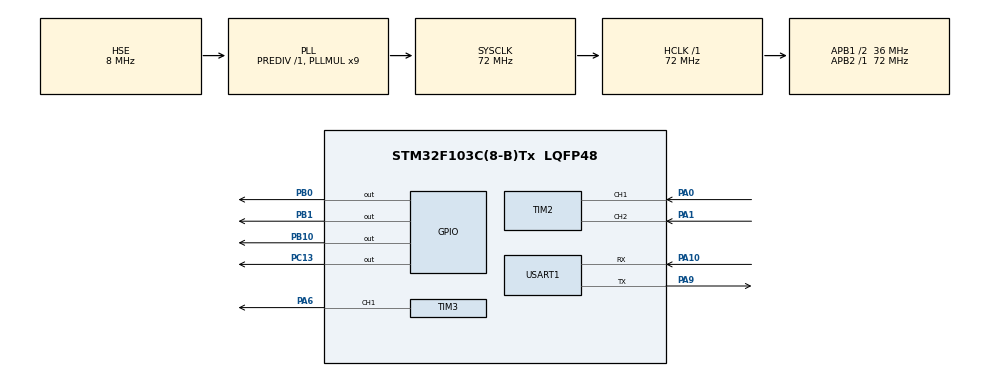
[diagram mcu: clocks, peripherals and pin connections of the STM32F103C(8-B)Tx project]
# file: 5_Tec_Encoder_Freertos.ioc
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FREERTOS.Tasks01=LedTask,8,128,Start_LedTask,Default,NULL,Dynamic,NULL,NULL;LogTask,8,256,Start_LogTask,Default,NULL,Dynamic,NULL,NULL;MotorTask,24,128,Start_MotorTask,Default,NULL,Dynamic,NULL,NULL;Feedback_test,32,128,Start_Feedback_test,Default,NULL,Dynamic,NULL,NULL
Mcu.Family=STM32F1
Mcu.Name=STM32F103C(8-B)Tx
Mcu.Package=LQFP48
NVIC.PriorityGroup=NVIC_PRIORITYGROUP_4
NVIC.TIM4_IRQn=true\:15\:0\:false\:false\:true\:false\:false\:true\:true
NVIC.TimeBase=TIM4_IRQn
NVIC.TimeBaseIP=TIM4
PA0-WKUP.Signal=S_TIM2_CH1_ETR
PA1.Signal=S_TIM2_CH2
PA10.Mode=Asynchronous
PA10.Signal=USART1_RX
PA13.Mode=Serial_Wire
PA13.Signal=SYS_JTMS-SWDIO
PA14.Mode=Serial_Wire
PA14.Signal=SYS_JTCK-SWCLK
PA6.Signal=S_TIM3_CH1
PA9.Mode=Asynchronous
PA9.Signal=USART1_TX
PB0.PinState=GPIO_PIN_SET
PB0.Signal=GPIO_Output
PB1.PinState=GPIO_PIN_SET
PB1.Signal=GPIO_Output
PB10.PinState=GPIO_PIN_SET
PB10.Signal=GPIO_Output
PC13-TAMPER-RTC.PinState=GPIO_PIN_SET
PC13-TAMPER-RTC.Signal=GPIO_Output
PD0-OSC_IN.Mode=HSE-External-Oscillator
PD0-OSC_IN.Signal=RCC_OSC_IN
PD1-OSC_OUT.Mode=HSE-External-Oscillator
PD1-OSC_OUT.Signal=RCC_OSC_OUT
ProjectManager.HeapSize=0x200
ProjectManager.StackSize=0x400
ProjectManager.TargetToolchain=MDK-ARM V5.32
RCC.AHBFreq_Value=72000000
RCC.APB1CLKDivider=RCC_HCLK_DIV2
RCC.APB1Freq_Value=36000000
RCC.APB1TimFreq_Value=72000000
RCC.APB2Freq_Value=72000000
RCC.APB2TimFreq_Value=72000000
RCC.EnbaleCSS=true
RCC.HCLKFreq_Value=72000000
RCC.PLLMUL=RCC_PLL_MUL9
RCC.PLLSourceVirtual=RCC_PLLSOURCE_HSE
RCC.SYSCLKFreq_VALUE=72000000
RCC.SYSCLKSource=RCC_SYSCLKSOURCE_PLLCLK
RCC.USBFreq_Value=72000000
SH.S_TIM2_CH1_ETR.0=TIM2_CH1,Encoder_Interface
SH.S_TIM2_CH2.0=TIM2_CH2,Encoder_Interface
SH.S_TIM3_CH1.0=TIM3_CH1,PWM Generation1 CH1
TIM2.EncoderMode=TIM_ENCODERMODE_TI12
TIM2.IC1Filter=5
TIM2.IC2Filter=5
TIM3.Channel-PWM\ Generation1\ CH1=TIM_CHANNEL_1
TIM3.Period=1000-1
TIM3.Prescaler=720-1
USART1.VirtualMode=VM_ASYNC
VP_FREERTOS_VS_CMSIS_V2.Mode=CMSIS_V2
VP_SYS_VS_tim4.Mode=TIM4
board=custom

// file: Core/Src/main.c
/* USER CODE BEGIN Header */
/**
  ******************************************************************************
  * @file           : main.c
  * @brief          : Main program body
  ******************************************************************************
  * @attention
  *
  * Copyright (c) 2025 STMicroelectronics.
  * All rights reserved.
  *
  * This software is licensed under terms that can be found in the LICENSE file
  * in the root directory of this software component.
  * If no LICENSE file comes with this software, it is provided AS-IS.
  *
  ******************************************************************************
  */
/* USER CODE END Header */
#include "main.h"
#include "cmsis_os.h"
#include "tim.h"
#include "usart.h"
#include "gpio.h"

/* USER CODE BEGIN Includes */

#include "cmsis_os2.h"
#include "motor.h"

// extern osThreadId_t LogTaskHandle;
// extern TIM_HandleTypeDef htim1;

Motor_t motor1; // 声明全局电机实例

/* USER CODE END Includes */

/* USER CODE BEGIN PV */

// 全局速度变量：使用 volatile 确保变量在中断和任务间正确同步
volatile int16_t current_speed = 0; // 当前速度

/* USER CODE END PV */

void SystemClock_Config(void);
void MX_FREERTOS_Init(void);

int main(void)
{

  /* MCU Configuration--------------------------------------------------------*/

  /* Reset of all peripherals, Initializes the Flash interface and the Systick. */
  HAL_Init();

  /* Configure the system clock */
  SystemClock_Config();

  /* Initialize all configured peripherals */
  MX_GPIO_Init();
  MX_TIM2_Init();
  MX_TIM3_Init();
  MX_USART1_UART_Init();
  /* USER CODE BEGIN 2 */

  // 启动编码器计数和 PWM 输出
  HAL_TIM_Encoder_Start(&htim2, TIM_CHANNEL_ALL);
  // HAL_TIM_PWM_Start(&htim1, TIM_CHANNEL_1);

  // 启动 TIM3 周期中断 (10ms 触发一次)
  // HAL_TIM_Base_Start_IT(&htim3);

  // TEST
  // __HAL_TIM_SET_COMPARE(&htim1, TIM_CHANNEL_1, 5000);
  // TEST

  Motor_Init(&motor1, &htim3, TIM_CHANNEL_1,
           GPIOB, GPIO_PIN_0,    // IN1 (例如 L298N 的 IN1)
           GPIOB, GPIO_PIN_1,    // IN2 (例如 L298N 的 IN2)
           GPIOB, GPIO_PIN_10,              // EN (如果没有独立的使能引脚，则为 NULL, 0)
           1000, 1000, 50,
           1, MOTOR_STOP_BRAKE);

  /* USER CODE END 2 */

  /* Init scheduler */
  osKernelInitialize();  /* Call init function for freertos objects (in cmsis_os2.c) */
  MX_FREERTOS_Init();

  /* Start scheduler */
  osKernelStart();

  /* We should never get here as control is now taken by the scheduler */

  /* Infinite loop */
  while (1)
  {

  }
}

void SystemClock_Config(void)
{
  RCC_OscInitTypeDef RCC_OscInitStruct = {0};
  RCC_ClkInitTypeDef RCC_ClkInitStruct = {0};

  /** Initializes the RCC Oscillators according to the specified parameters
  * in the RCC_OscInitTypeDef structure.
  */
  RCC_OscInitStruct.OscillatorType = RCC_OSCILLATORTYPE_HSE;
  RCC_OscInitStruct.HSEState = RCC_HSE_ON;
  RCC_OscInitStruct.HSEPredivValue = RCC_HSE_PREDIV_DIV1;
  RCC_OscInitStruct.HSIState = RCC_HSI_ON;
  RCC_OscInitStruct.PLL.PLLState = RCC_PLL_ON;
  RCC_OscInitStruct.PLL.PLLSource = RCC_PLLSOURCE_HSE;
  RCC_OscInitStruct.PLL.PLLMUL = RCC_PLL_MUL9;
  if (HAL_RCC_OscConfig(&RCC_OscInitStruct) != HAL_OK)
  {
    Error_Handler();
  }

  /** Initializes the CPU, AHB and APB buses clocks
  */
  RCC_ClkInitStruct.ClockType = RCC_CLOCKTYPE_HCLK|RCC_CLOCKTYPE_SYSCLK
                              |RCC_CLOCKTYPE_PCLK1|RCC_CLOCKTYPE_PCLK2;
  RCC_ClkInitStruct.SYSCLKSource = RCC_SYSCLKSOURCE_PLLCLK;
  RCC_ClkInitStruct.AHBCLKDivider = RCC_SYSCLK_DIV1;
  RCC_ClkInitStruct.APB1CLKDivider = RCC_HCLK_DIV2;
  RCC_ClkInitStruct.APB2CLKDivider = RCC_HCLK_DIV1;

  if (HAL_RCC_ClockConfig(&RCC_ClkInitStruct, FLASH_LATENCY_2) != HAL_OK)
  {
    Error_Handler();
  }

  /** Enables the Clock Security System
  */
  HAL_RCC_EnableCSS();
}

void HAL_TIM_PeriodElapsedCallback(TIM_HandleTypeDef *htim)
{
  if (htim->Instance == TIM4)
  {
    HAL_IncTick();
  }
  /* USER CODE BEGIN Callback 1 */

// To see "Start_Feedback_test"
// 把tim3定时中断，进行“发送-计数”取消；改为freertos中实现

  //   if (htim->Instance == TIM3) // 1ms 测速中断
  // {
  //   static int16_t last_cnt = 0;
  //   int16_t now = (int16_t)__HAL_TIM_GET_COUNTER(&htim2);

  //   // 1. 速度计算 (快速操作)
  //   current_speed = - (now - last_cnt);
  //   last_cnt = now;

  //   // 2. 唤醒 LogTask (使用 CMSIS V2 任务通知)
  //   if (LogTaskHandle != NULL)
  //   {
  //     osThreadFlagsSet(LogTaskHandle, 0x01); // 设置标志位 0x01 唤醒 LogTask
  //   }
  // }

  /* USER CODE END Callback 1 */
}

void Error_Handler(void)
{
  __disable_irq();
  while (1)
  {
  }
}

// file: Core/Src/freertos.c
/* USER CODE BEGIN Header */
/**
  ******************************************************************************
  * File Name          : freertos.c
  * Description        : Code for freertos applications
  ******************************************************************************
  * @attention
  *
  * Copyright (c) 2025 STMicroelectronics.
  * All rights reserved.
  *
  * This software is licensed under terms that can be found in the LICENSE file
  * in the root directory of this software component.
  * If no LICENSE file comes with this software, it is provided AS-IS.
  *
  ******************************************************************************
  */
/* USER CODE END Header */

#include "FreeRTOS.h"
#include "task.h"
#include "main.h"
#include "cmsis_os.h"

/* USER CODE BEGIN Includes */

#include "stdio.h"
#include "motor.h"
/* USER CODE END Includes */

/* USER CODE BEGIN Variables */

extern volatile int16_t current_speed;
extern TIM_HandleTypeDef htim2;
extern UART_HandleTypeDef huart1;
// extern TIM_HandleTypeDef htim1;
extern Motor_t motor1; // 声明全局电机实例

// LogTask 的任务句柄由 CubeMX 自动生成并在此处声明
// osThreadId_t LogTaskHandle;
uint8_t tx_buf[50];

/* USER CODE END Variables */
/* Definitions for LedTask */
osThreadId_t LedTaskHandle;
const osThreadAttr_t LedTask_attributes = {
  .name = "LedTask",
  .stack_size = 128 * 4,
  .priority = (osPriority_t) osPriorityLow,
};
/* Definitions for LogTask */
osThreadId_t LogTaskHandle;
const osThreadAttr_t LogTask_attributes = {
  .name = "LogTask",
  .stack_size = 256 * 4,
  .priority = (osPriority_t) osPriorityLow,
};
/* Definitions for MotorTask */
osThreadId_t MotorTaskHandle;
const osThreadAttr_t MotorTask_attributes = {
  .name = "MotorTask",
  .stack_size = 128 * 4,
  .priority = (osPriority_t) osPriorityNormal,
};
/* Definitions for Feedback_test */
osThreadId_t Feedback_testHandle;
const osThreadAttr_t Feedback_test_attributes = {
  .name = "Feedback_test",
  .stack_size = 128 * 4,
  .priority = (osPriority_t) osPriorityAboveNormal,
};

void Start_LedTask(void *argument);
void Start_LogTask(void *argument);
void Start_MotorTask(void *argument);
void Start_Feedback_test(void *argument);

void MX_FREERTOS_Init(void); /* (MISRA C 2004 rule 8.1) */

void MX_FREERTOS_Init(void) {

  /* Create the thread(s) */
  /* creation of LedTask */
  LedTaskHandle = osThreadNew(Start_LedTask, NULL, &LedTask_attributes);

  /* creation of LogTask */
  LogTaskHandle = osThreadNew(Start_LogTask, NULL, &LogTask_attributes);

  /* creation of MotorTask */
  MotorTaskHandle = osThreadNew(Start_MotorTask, NULL, &MotorTask_attributes);

  /* creation of Feedback_test */
  Feedback_testHandle = osThreadNew(Start_Feedback_test, NULL, &Feedback_test_attributes);

}

void Start_LedTask(void *argument)
{
  /* USER CODE BEGIN Start_LedTask */
  /* Infinite loop */
  for(;;)
  {
    // 周期性操作：切换 PC13 引脚状态 (假设 PC13 是 LED)
    HAL_GPIO_TogglePin(GPIOC, GPIO_PIN_13);

    // 任务休眠 500ms
    osDelay(500); // CMSIS V2 的延时函数
    // osDelay(1);
  }
  /* USER CODE END Start_LedTask */
}

void Start_LogTask(void *argument)
{
  /* USER CODE BEGIN Start_LogTask */
  /* Infinite loop */
  for(;;)
  {
    // 阻塞等待来自 TIM3 中断的标志位 (0x01)
    // osThreadFlagsWait(flags, options, timeout)
    osThreadFlagsWait(0x01, osFlagsWaitAny, osWaitForever);

    // 收到标志位 (每 10ms 唤醒一次) 后执行耗时 I/O：

    // 1. 安全地读取速度
    int16_t speed_val = current_speed;
    uint32_t cnt_val = __HAL_TIM_GET_COUNTER(&htim2);

    // 2. 格式化数据
    int len = sprintf((char *)tx_buf, "%ld,%d\r\n", cnt_val, speed_val);

    // 3. 串口发送 (耗时操作，安全)
    HAL_UART_Transmit(&huart1, tx_buf, len, HAL_MAX_DELAY);

    osDelay(1);
  }
  /* USER CODE END Start_LogTask */
}

void Start_MotorTask(void *argument)
{
  /* USER CODE BEGIN Start_MotorTask */
  /* Infinite loop */
  for(;;)
  {
    // HAL_GPIO_TogglePin(GPIOC, GPIO_PIN_13); // 切换 LED 状态，观察任务运行情况
    Motor_SetSpeed(&motor1, 1000); // 正转
    osDelay(1000);

    // HAL_GPIO_TogglePin(GPIOC, GPIO_PIN_13); // 切换 LED 状态，观察任务运行情况
    Motor_SetSpeed(&motor1, 0); // 停止
    osDelay(1000);

    // HAL_GPIO_TogglePin(GPIOC, GPIO_PIN_13); // 切换 LED 状态，观察任务运行情况
    Motor_SetSpeed(&motor1, -1000); // 反转
    osDelay(1000);

    //     HAL_GPIO_TogglePin(GPIOC, GPIO_PIN_13); // 切换 LED 状态，观察任务运行情况
    // Motor_SetSpeed(&motor1, -100); // 反转
    // osDelay(1000);

    //     HAL_GPIO_TogglePin(GPIOC, GPIO_PIN_13); // 切换 LED 状态，观察任务运行情况
    // Motor_SetSpeed(&motor1, -1000); // 反转
    // osDelay(1000);

    //     HAL_GPIO_TogglePin(GPIOC, GPIO_PIN_13); // 切换 LED 状态，观察任务运行情况
    // Motor_SetSpeed(&motor1, -300); // 反转
    // osDelay(2000);

    //     HAL_GPIO_TogglePin(GPIOC, GPIO_PIN_13); // 切换 LED 状态，观察任务运行情况
    // Motor_SetSpeed(&motor1, -400); // 反转
    // osDelay(2000);

    //     HAL_GPIO_TogglePin(GPIOC, GPIO_PIN_13); // 切换 LED 状态，观察任务运行情况
    // Motor_SetSpeed(&motor1, -500); // 反转
    // osDelay(2000);
    Motor_SetSpeed(&motor1, 0); // 停止
    osDelay(1000);
  }
  /* USER CODE END Start_MotorTask */
}

void Start_Feedback_test(void *argument)
{
  /* USER CODE BEGIN Start_Feedback_test */
  /* Infinite loop */
  for(;;)
  {
    static int16_t last_cnt = 0;
    int16_t now = (int16_t)__HAL_TIM_GET_COUNTER(&htim2);

    // 1. 速度计算 (快速操作)
    current_speed =  (now - last_cnt);
    // current_speed = - (now - last_cnt);
    last_cnt = now;

    // 2. 唤醒 LogTask (使用 CMSIS V2 任务通知)
    if (LogTaskHandle != NULL)
    {
      osThreadFlagsSet(LogTaskHandle, 0x01); // 设置标志位 0x01 唤醒 LogTask
    }
    osDelay(10); // 10ms 测速周期
  }
  /* USER CODE END Start_Feedback_test */
}
